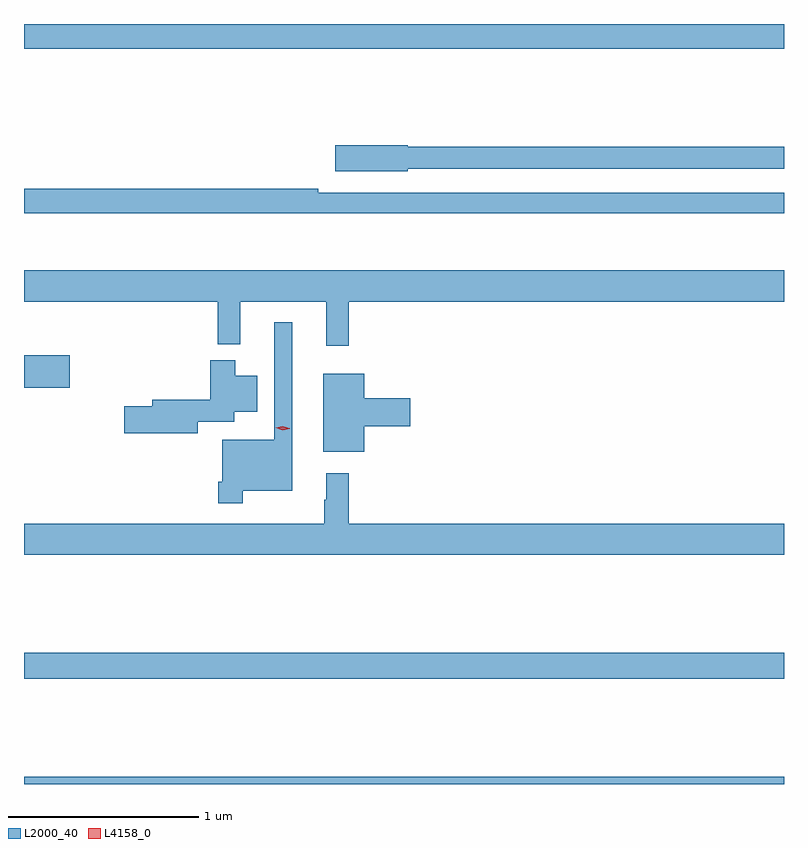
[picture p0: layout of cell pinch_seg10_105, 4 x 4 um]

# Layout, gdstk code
import gdstk
lib = gdstk.Library(unit=1e-6, precision=1e-09)
def R(c, l, rs):  # rectangles x0, y0, x1, y1
    for r in rs: c.add(gdstk.rectangle(r[:2], r[2:], *l))
def P(c, l, *ps):  # polygons
    for p in ps: c.add(gdstk.Polygon(p, *l))
L2000_40 = (2000, 40)
L4158_0 = (4158, 0)

pinch_seg10_105 = lib.new_cell('pinch_seg10_105')
R(pinch_seg10_105, L2000_40, [(676.075,1315.093,680.075,1315.132), (676.075,1315.648,680.075,1315.784), (676.075,1317.179,676.315,1317.349), (676.075,1318.964,680.075,1319.093)])
P(pinch_seg10_105, L2000_40, [(678.096,1318.332),(680.075,1318.332),(680.075,1318.448),(678.096,1318.448),(678.096,1318.454),(677.712,1318.454),(677.712,1318.319),(678.096,1318.319)],
  [(680.075,1318.206),(677.624,1318.206),(677.624,1318.226),(676.075,1318.226),(676.075,1318.098),(680.075,1318.098)],
  [(677.783,1317.632),(680.075,1317.632),(680.075,1317.796),(676.075,1317.796),(676.075,1317.632),(677.095,1317.632),(677.095,1317.407),(677.213,1317.407),(677.213,1317.632),(677.666,1317.632),(677.666,1317.399),(677.783,1317.399)],
  [(677.227,1316.636),(677.488,1316.636),(677.488,1317.523),(677.391,1317.523),(677.391,1316.905),(677.118,1316.905),(677.118,1316.683),(677.098,1316.683),(677.098,1316.571),(677.227,1316.571)],
  [(676.99,1317),(677.182,1317),(677.182,1317.053),(677.302,1317.053),(677.302,1317.241),(677.188,1317.241),(677.188,1317.322),(677.054,1317.322),(677.054,1317.116),(676.751,1317.116),(676.751,1317.08),(676.602,1317.08),(676.602,1316.938),(676.99,1316.938)],
  [(677.866,1316.975),(678.109,1316.975),(678.109,1317.122),(677.866,1317.122),(677.866,1317.253),(677.651,1317.253),(677.651,1316.843),(677.866,1316.843)],
  [(680.075,1316.464),(677.783,1316.464),(677.783,1316.728),(677.666,1316.728),(677.666,1316.588),(677.655,1316.588),(677.655,1316.464),(676.075,1316.464),(676.075,1316.3),(680.075,1316.3)])
P(pinch_seg10_105, L4158_0, [(677.437,1316.956),(677.401,1316.967),(677.401,1316.967),(677.401,1316.967),(677.437,1316.976),(677.473,1316.965),(677.473,1316.964),(677.473,1316.964)])

lib.write_gds('pinch_seg10_105.gds')
